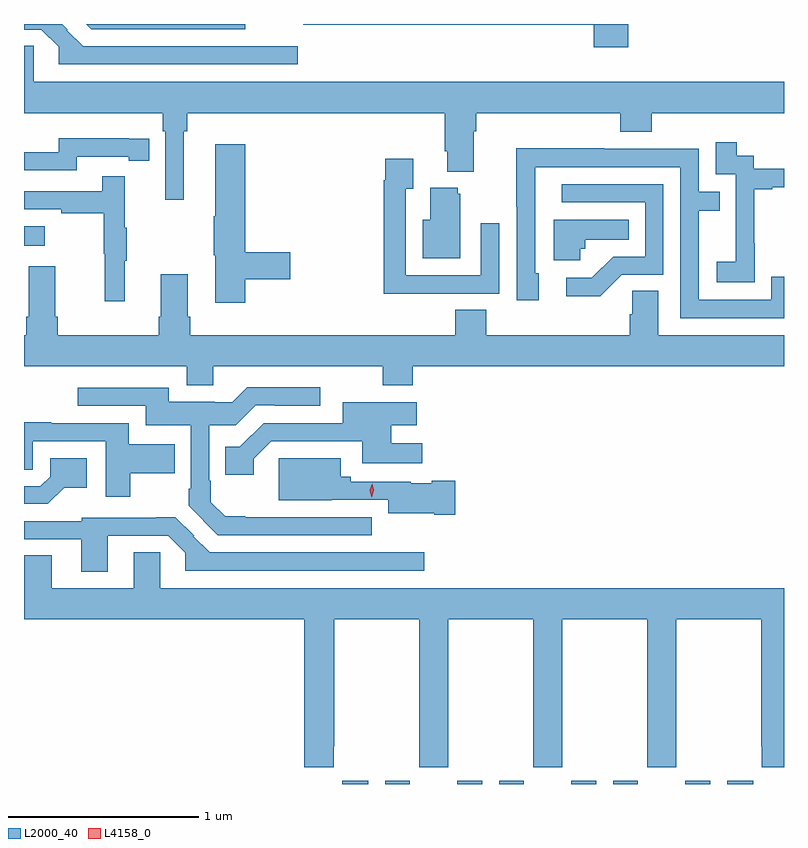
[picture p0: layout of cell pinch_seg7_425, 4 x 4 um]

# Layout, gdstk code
import gdstk
lib = gdstk.Library(unit=1e-6, precision=1e-09)
def R(c, l, rs):  # rectangles x0, y0, x1, y1
    for r in rs: c.add(gdstk.rectangle(r[:2], r[2:], *l))
def P(c, l, *ps):  # polygons
    for p in ps: c.add(gdstk.Polygon(p, *l))
L2000_40 = (2000, 40)
L4158_0 = (4158, 0)

pinch_seg7_425 = lib.new_cell('pinch_seg7_425')
R(pinch_seg7_425, L2000_40, [(354.485,1070.345,354.622,1070.362), (354.71,1070.345,354.841,1070.362), (355.091,1070.345,355.222,1070.362), (355.31,1070.345,355.441,1070.362), (355.691,1070.345,355.822,1070.362), (355.91,1070.345,356.041,1070.362), (356.291,1070.345,356.422,1070.362), (356.51,1070.345,356.647,1070.362), (352.81,1073.177,352.918,1073.281)])
P(pinch_seg7_425, L2000_40, [(355.991,1074.345),(354.28,1074.345),(354.28,1074.342),(355.808,1074.342),(355.808,1074.222),(355.991,1074.222)],
  [(353.974,1074.345),(353.138,1074.345),(353.165,1074.318),(353.974,1074.318)],
  [(354.25,1074.228),(353.121,1074.228),(353.036,1074.313),(353.039,1074.316),(353.01,1074.345),(352.81,1074.345),(352.81,1074.315),(352.902,1074.315),(352.993,1074.225),(352.993,1074.132),(354.25,1074.132)],
  [(353.65,1073.78),(353.669,1073.78),(353.669,1073.876),(355.025,1073.876),(355.025,1073.674),(355.037,1073.674),(355.037,1073.567),(355.177,1073.567),(355.177,1073.78),(355.19,1073.78),(355.19,1073.876),(355.949,1073.876),(355.949,1073.777),(356.114,1073.777),(356.114,1073.876),(356.81,1073.876),(356.81,1074.04),(352.86,1074.04),(352.86,1074.23),(352.81,1074.23),(352.81,1073.876),(353.54,1073.876),(353.54,1073.78),(353.553,1073.78),(353.553,1073.421),(353.65,1073.421)],
  [(353.088,1073.646),(353.36,1073.646),(353.36,1073.626),(353.468,1073.626),(353.468,1073.742),(353.36,1073.742),(353.36,1073.743),(352.992,1073.743),(352.992,1073.67),(352.81,1073.67),(352.81,1073.574),(353.088,1073.574)],
  [(356.655,1073.191),(356.654,1073.191),(356.654,1073.475),(356.749,1073.475),(356.749,1073.487),(356.81,1073.487),(356.81,1073.583),(356.652,1073.583),(356.652,1073.652),(356.56,1073.652),(356.56,1073.722),(356.451,1073.722),(356.451,1073.553),(356.556,1073.553),(356.556,1073.324),(356.555,1073.324),(356.555,1073.095),(356.457,1073.095),(356.457,1072.985),(356.655,1072.985)],
  [(353.975,1073.002),(354.211,1073.002),(354.211,1073.144),(353.975,1073.144),(353.975,1073.713),(353.816,1073.713),(353.816,1073.333),(353.809,1073.333),(353.809,1073.127),(353.816,1073.127),(353.816,1072.878),(353.975,1072.878)],
  [(356.81,1073.016),(356.742,1073.016),(356.742,1072.893),(356.361,1072.893),(356.361,1073.362),(356.471,1073.362),(356.471,1073.463),(356.361,1073.463),(356.361,1073.688),(355.865,1073.688),(355.865,1073.69),(355.402,1073.69),(355.402,1073.383),(355.404,1073.383),(355.404,1072.89),(355.519,1072.89),(355.519,1073.034),(355.5,1073.034),(355.5,1073.377),(355.501,1073.377),(355.501,1073.592),(356.265,1073.592),(356.265,1072.797),(356.81,1072.797)],
  [(354.995,1072.926),(355.311,1072.926),(355.311,1073.296),(355.215,1073.296),(355.215,1073.022),(354.819,1073.022),(354.819,1073.479),(354.859,1073.479),(354.859,1073.635),(354.711,1073.635),(354.711,1073.522),(354.703,1073.522),(354.703,1072.925),(354.995,1072.925)],
  [(353.339,1073.099),(353.35,1073.099),(353.35,1073.273),(353.339,1073.273),(353.339,1073.545),(353.221,1073.545),(353.221,1073.466),(352.81,1073.466),(352.81,1073.37),(353.005,1073.37),(353.005,1073.35),(353.229,1073.35),(353.229,1073.136),(353.236,1073.136),(353.236,1072.887),(353.339,1072.887)],
  [(355.956,1073.025),(356.175,1073.025),(356.175,1073.502),(355.641,1073.502),(355.641,1073.406),(356.079,1073.406),(356.079,1073.121),(355.91,1073.121),(355.799,1073.01),(355.665,1073.01),(355.665,1072.913),(355.843,1072.913)],
  [(355.105,1073.451),(355.094,1073.451),(355.094,1073.482),(354.947,1073.482),(354.947,1073.314),(354.908,1073.314),(354.908,1073.111),(355.105,1073.111)],
  [(355.737,1073.163),(355.764,1073.163),(355.764,1073.21),(355.994,1073.21),(355.994,1073.314),(355.598,1073.314),(355.598,1073.102),(355.737,1073.102)],
  [(353.806,1072.544),(354.697,1072.544),(354.697,1072.445),(354.857,1072.445),(354.857,1072.544),(356.81,1072.544),(356.81,1072.708),(356.149,1072.708),(356.149,1072.94),(356.01,1072.94),(356.01,1072.817),(355.997,1072.817),(355.997,1072.708),(355.244,1072.708),(355.244,1072.841),(355.079,1072.841),(355.079,1072.708),(353.684,1072.708),(353.684,1072.804),(353.671,1072.804),(353.671,1073.029),(353.531,1073.029),(353.531,1072.804),(353.519,1072.804),(353.519,1072.708),(352.988,1072.708),(352.988,1072.804),(352.975,1072.804),(352.975,1073.071),(352.835,1073.071),(352.835,1072.804),(352.823,1072.804),(352.823,1072.708),(352.81,1072.708),(352.81,1072.544),(353.666,1072.544),(353.666,1072.445),(353.806,1072.445)],
  [(354.64,1071.75),(353.974,1071.75),(353.974,1071.753),(353.87,1071.753),(353.794,1071.828),(353.794,1071.94),(353.784,1071.94),(353.784,1072.233),(353.925,1072.233),(354.03,1072.338),(354.13,1072.338),(354.13,1072.335),(354.37,1072.335),(354.37,1072.432),(353.986,1072.432),(353.907,1072.353),(353.813,1072.353),(353.813,1072.357),(353.572,1072.357),(353.572,1072.431),(353.094,1072.431),(353.094,1072.335),(353.45,1072.335),(353.45,1072.232),(353.688,1072.232),(353.688,1071.898),(353.676,1071.898),(353.676,1071.809),(353.831,1071.654),(354.64,1071.654)],
  [(354.019,1072.057),(354.111,1072.149),(354.59,1072.149),(354.59,1072.034),(354.907,1072.034),(354.907,1072.138),(354.743,1072.138),(354.743,1072.232),(354.877,1072.232),(354.877,1072.354),(354.488,1072.354),(354.488,1072.245),(354.071,1072.245),(353.946,1072.12),(353.869,1072.12),(353.869,1071.972),(354.019,1071.972)],
  [(353.37,1071.98),(353.603,1071.98),(353.603,1072.132),(353.362,1072.132),(353.362,1072.245),(352.954,1072.245),(352.954,1072.25),(352.81,1072.25),(352.81,1072),(352.857,1072),(352.857,1072.149),(353.24,1072.149),(353.24,1071.858),(353.37,1071.858)],
  [(353.022,1071.905),(353.14,1071.905),(353.14,1072.06),(352.947,1072.06),(352.947,1071.963),(352.896,1071.912),(352.81,1071.912),(352.81,1071.819),(352.936,1071.819)],
  [(355.081,1071.941),(354.957,1071.941),(354.957,1071.928),(354.846,1071.928),(354.846,1071.936),(354.531,1071.936),(354.531,1071.961),(354.478,1071.961),(354.478,1072.06),(354.152,1072.06),(354.152,1071.839),(354.431,1071.839),(354.431,1071.84),(354.728,1071.84),(354.728,1071.77),(354.968,1071.77),(354.968,1071.763),(355.081,1071.763)],
  [(353.251,1071.651),(353.568,1071.651),(353.659,1071.561),(353.659,1071.468),(354.916,1071.468),(354.916,1071.564),(353.787,1071.564),(353.702,1071.649),(353.705,1071.652),(353.607,1071.75),(353.507,1071.75),(353.507,1071.747),(353.115,1071.747),(353.115,1071.729),(352.81,1071.729),(352.81,1071.633),(353.111,1071.633),(353.111,1071.462),(353.251,1071.462)],
  [(354.439,1070.545),(354.444,1070.545),(354.444,1071.212),(354.889,1071.212),(354.889,1070.433),(355.044,1070.433),(355.044,1071.212),(355.489,1071.212),(355.489,1070.433),(355.644,1070.433),(355.644,1071.212),(356.089,1071.212),(356.089,1070.433),(356.244,1070.433),(356.244,1071.212),(356.689,1071.212),(356.689,1070.545),(356.693,1070.545),(356.693,1070.433),(356.81,1070.433),(356.81,1071.376),(353.526,1071.376),(353.526,1071.566),(353.387,1071.566),(353.387,1071.376),(352.957,1071.376),(352.957,1071.548),(352.81,1071.548),(352.81,1071.212),(354.284,1071.212),(354.284,1070.433),(354.439,1070.433)])
P(pinch_seg7_425, L4158_0, [(354.639,1071.855),(354.631,1071.891),(354.642,1071.926),(354.643,1071.926),(354.643,1071.926),(354.651,1071.89),(354.64,1071.855),(354.64,1071.855)])

lib.write_gds('pinch_seg7_425.gds')
